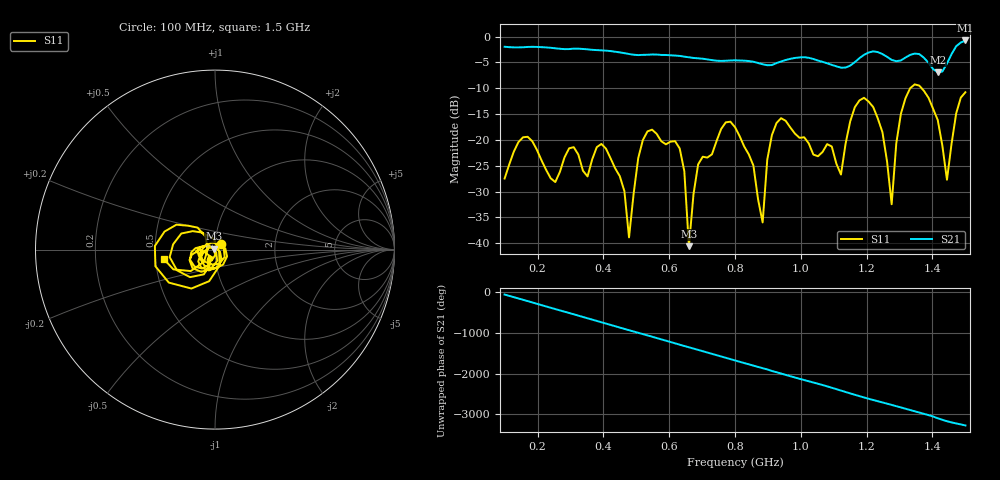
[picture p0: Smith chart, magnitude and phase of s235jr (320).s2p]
! NanoVNA-App
! Date: 2025-09-25 15:06:39
! Start: 100MHz Stop: 1,5GHz Points: 101
! S-Parameter data: F S11 S21 S12 S22
# Hz S RI R 50
!  Frequency  S11_Real  S11_Imag  S21_Real  S21_Imag  S12_Real  S12_Imag  S22_Real  S22_Imag
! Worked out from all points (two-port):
!   101 points, 100 MHz to 1.5 GHz, reference 50 ohm
!   highest |S21| = -0.74 dB at 1.5 GHz (marker M1); lowest = -6.9 dB at 1.416 GHz (marker M2)
!   |S21| within 3 dB of the highest: start of sweep to 632.9 MHz; 1.187 GHz to 1.258 GHz (70.35 MHz wide, 5.75 % of centre) (the widest 2 of 4)
!   lowest |S11| = -40.6 dB at 660 MHz (marker M3), VSWR 1.02, Z = 49.2 + j0.546 ohm
!   |S11| at or under -10 dB: start of sweep to 1.332 GHz; 1.367 GHz to end of sweep
!   S12 and S22 are empty: the file has one direction only
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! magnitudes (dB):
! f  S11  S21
! 100 MHz  -27.5  -2.0
! 170 MHz  -19.4  -2.0
! 338 MHz  -26.0  -2.4
! 408 MHz  -21.7  -2.7
! 478 MHz  -38.9  -3.4
! 520 MHz  -20.0  -3.5
! 576 MHz  -20.2  -3.5
! 632 MHz  -21.7  -3.7
! 660 MHz  -40.6  -4.0
! 688 MHz  -24.7  -4.2
! 800 MHz  -17.5  -4.6
! 884 MHz  -36.0  -5.3
! 926 MHz  -16.7  -5.1
! 1.038 GHz  -22.8  -4.3
! 1.122 GHz  -26.7  -6.0
! 1.192 GHz  -11.8  -3.5
! 1.248 GHz  -18.5  -3.4
! 1.276 GHz  -32.4  -4.5
! 1.332 GHz  -10.0  -3.5
! 1.416 GHz  -16.1  -6.9
! 1.444 GHz  -27.7  -5.2
! 1.5 GHz  -10.8  -0.7
